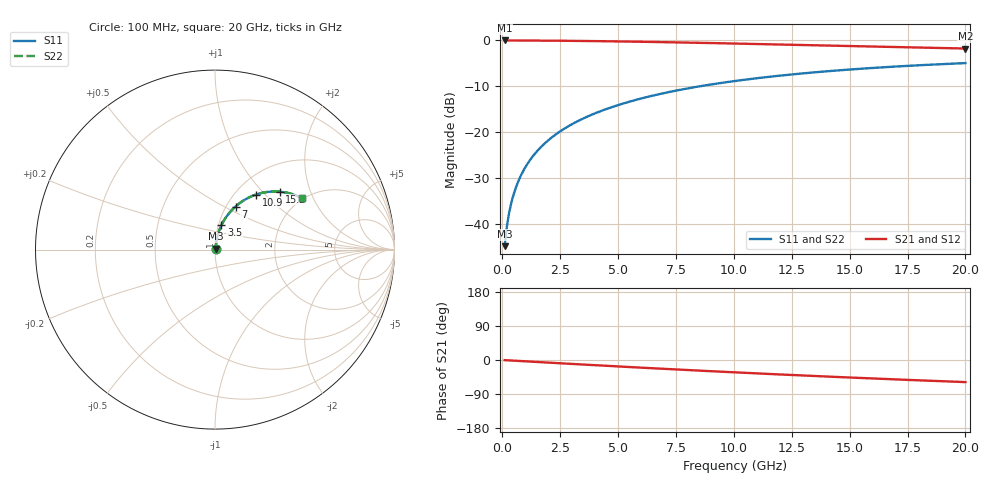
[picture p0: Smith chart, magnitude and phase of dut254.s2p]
! Touchstone file exported from HFSS 2026.1.0
!  File:  C:/ffzhzh/LocalFiles/Ansys_Project_Files/temp_train_TMRDL_254_1782984892_6248.aedt
!  Generated:  05:36:22 PM Jul  2, 2026
!  Design:  TMRDL
!  Project:  temp_train_TMRDL_254_1782984892_6248
! Variables:
!  h_bsmrdl = 2um
!  h_ox = 20um
!  h_rdl = 5um
!  h_sub = 80um
!  h_tmrdl = 4.56um
!  h_tsv = 80um
!  h_via = 3um
!  l_bsmrdl = 300um
!  l_sub = 1263.7um
!  l_tmrdl = 863.7um
!  m_sub = 200um
!  pitch = 59.49um
!  r_tsv = 6um
!  s_tmrdl = 10um
!  w_bsmrdl = 18um
!  w_sub = 500um
!  w_tmrdl = 18.87um
!  x_tsv_center1 = 873.135um
!  x_tsv_center2 = 1191.135um
!  x_tsv_center3 = 2073.705um
!  x_tsv_center4 = 2391.705um
!  x_tsv_center5 = 3274.275um
!  x_tsv_center6 = 3592.275um
# GHz S MA R 50.000000
! Terminal data exported
! Port[1] = TM_RDL1_1_T1
! Port[2] = TM_RDL1_1_T2
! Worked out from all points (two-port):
!   200 points, 100 MHz to 20 GHz, reference 50 ohm
!   highest |S21| = -0.03 dB at 100 MHz (marker M1); lowest = -1.8 dB at 20 GHz (marker M2)
!   |S21| within 3 dB of the highest: start of sweep to end of sweep
!   lowest |S11| = -44.9 dB at 100 MHz (marker M3), VSWR 1.01, Z = 50.4 + j0.433 ohm
!   |S11| at or under -10 dB: start of sweep to 8.576 GHz
!   |S22| runs from -44.9 to -5.0 dB; largest |S21 - S12| = 4e-15
!   S11 on the Smith chart (normalised r, x): 100 MHz: 1.01, +0.01; 3.5 GHz: 1.03, +0.29; 7 GHz: 1.10, +0.57; 10.9 GHz: 1.24, +0.89; 15.2 GHz: 1.49, +1.26; 20 GHz: 1.97, +1.65
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0.1  0.005665 49.3  0.9963 -0.4  0.9963 -0.4  0.005665 49.3
! Gamma 0 0 0 0
! Port Impedance 50 0 50 0
0.2  0.009359 65.2  0.9961 -0.7  0.9961 -0.7  0.009359 65.2
0.3  0.01329 71.6  0.996 -1.1  0.996 -1.1  0.01329 71.6
0.4  0.01727 74.9  0.9958 -1.4  0.9958 -1.4  0.01727 74.9
0.5  0.02126 76.9  0.9956 -1.8  0.9956 -1.8  0.02126 76.9
0.7  0.02929 79.0  0.9953 -2.5  0.9953 -2.5  0.02929 79.1
1  0.0414 80.3  0.9947 -3.5  0.9947 -3.5  0.0414 80.3
1.4  0.05754 80.4  0.9936 -4.9  0.9936 -4.9  0.05754 80.4
2  0.08162 79.4  0.9915 -6.9  0.9915 -6.9  0.08162 79.4
2.7  0.1093 77.7  0.9883 -9.3  0.9883 -9.3  0.1093 77.7
3.5  0.1404 75.3  0.9836 -12.0  0.9836 -12.0  0.1404 75.3
4.2  0.1669 73.2  0.9788 -14.4  0.9788 -14.4  0.1669 73.2
5  0.1963 70.7  0.9727 -17.0  0.9727 -17.0  0.1963 70.7
6.8  0.2592 65.1  0.9565 -22.8  0.9565 -22.8  0.2592 65.2
7  0.2658 64.5  0.9546 -23.4  0.9546 -23.4  0.2658 64.6
8.5  0.3139 60.1  0.9391 -28.0  0.9391 -28.0  0.3139 60.1
10.1  0.3612 55.5  0.9215 -32.8  0.9215 -32.8  0.3612 55.5
10.9  0.3832 53.2  0.9124 -35.1  0.9124 -35.1  0.3832 53.3
13.4  0.4453 46.4  0.8835 -42.0  0.8835 -42.0  0.4453 46.5
15.2  0.4839 41.8  0.8631 -46.7  0.8631 -46.7  0.4839 41.9
16.7  0.5123 38.1  0.8467 -50.5  0.8467 -50.5  0.5123 38.2
20  0.5639 30.4  0.8137 -58.3  0.8137 -58.3  0.5639 30.5
